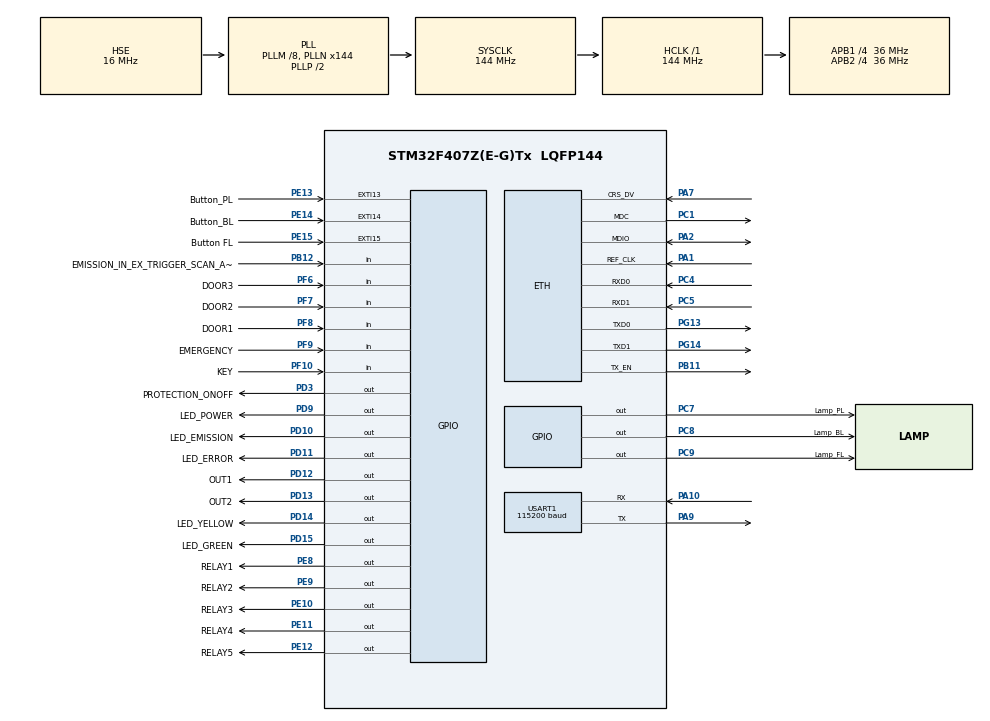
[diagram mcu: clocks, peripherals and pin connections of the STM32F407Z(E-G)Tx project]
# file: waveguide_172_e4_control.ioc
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ETH.AutoNegotiation=ETH_AUTONEGOTIATION_ENABLE
ETH.ChecksumMode=ETH_CHECKSUM_BY_HARDWARE
ETH.DuplexMode=ETH_MODE_FULLDUPLEX
ETH.MACAddr=00\:80\:E1\:00\:00\:0D
ETH.MediaInterface=HAL_ETH_RMII_MODE
ETH.PHY_AUTONEGOTIATION=0x1000
ETH.PHY_AUTONEGO_COMPLETE=0x0020
ETH.PHY_BCR=0x00
ETH.PHY_BSR=0x01
ETH.PHY_CONFIG_DELAY=0x00000FFF
ETH.PHY_DUPLEX_STATUS=0x0010
ETH.PHY_FULLDUPLEX_100M=0x2100
ETH.PHY_FULLDUPLEX_10M=0x0100
ETH.PHY_HALFDUPLEX_100M=0x2000
ETH.PHY_HALFDUPLEX_10M=0x0000
ETH.PHY_ISFR=0x001D
ETH.PHY_ISFR_INT4=0x000B
ETH.PHY_ISOLATE=0x0400
ETH.PHY_JABBER_DETECTION=0x0002
ETH.PHY_LINKED_STATUS=0x0004
ETH.PHY_LOOPBACK=0x4000
ETH.PHY_Name_RMII=DP83848_PHY_ADDRESS
ETH.PHY_POWERDOWN=0x0800
ETH.PHY_READ_TO=0x0000FFFF
ETH.PHY_RESET=0x8000
ETH.PHY_RESET_DELAY=0x000000FF
ETH.PHY_RESTART_AUTONEGOTIATION=0x0200
ETH.PHY_SPEED_STATUS=0x0004
ETH.PHY_SR=0x1F
ETH.PHY_WRITE_TO=0x0000FFFF
ETH.PhyAddress=3
ETH.RxMode=ETH_RXINTERRUPT_MODE
ETH.Speed=ETH_SPEED_100M
FREERTOS.HEAP_NUMBER=4
FREERTOS.INCLUDE_eTaskGetState=0
FREERTOS.INCLUDE_pcTaskGetTaskName=0
FREERTOS.INCLUDE_uxTaskGetStackHighWaterMark=0
FREERTOS.INCLUDE_uxTaskGetStackHighWaterMark2=0
FREERTOS.INCLUDE_uxTaskPriorityGet=1
FREERTOS.INCLUDE_vTaskCleanUpResources=0
FREERTOS.INCLUDE_vTaskDelay=1
FREERTOS.INCLUDE_vTaskDelayUntil=0
FREERTOS.INCLUDE_vTaskDelete=1
FREERTOS.INCLUDE_vTaskPrioritySet=1
FREERTOS.INCLUDE_vTaskSuspend=1
FREERTOS.INCLUDE_xEventGroupSetBitFromISR=0
FREERTOS.INCLUDE_xQueueGetMutexHolder=0
FREERTOS.INCLUDE_xSemaphoreGetMutexHolder=0
FREERTOS.INCLUDE_xTaskAbortDelay=0
FREERTOS.INCLUDE_xTaskGetCurrentTaskHandle=0
FREERTOS.INCLUDE_xTaskGetHandle=0
FREERTOS.INCLUDE_xTaskResumeFromISR=1
FREERTOS.MEMORY_ALLOCATION=2
FREERTOS.Mutexes01=CanMutex,Static,CanMutexControlBlock
FREERTOS.Tasks01=main_task,0,2048,h_main_task,Default,NULL,Static,main_taskBuffer,main_taskControlBlock;indi_task,0,256,h_indi_task,Default,NULL,Static,indi_taskBuffer,indi_taskControlBlock;server_task,-3,2048,h_server_task,Default,NULL,Static,server_taskBuffer,server_taskControlBlock;toolsTask,-3,512,h_tools,Default,NULL,Dynamic,NULL,NULL
FREERTOS.configCHECK_FOR_STACK_OVERFLOW=0
FREERTOS.configENABLE_BACKWARD_COMPATIBILITY=1
FREERTOS.configENABLE_FPU=0
FREERTOS.configGENERATE_RUN_TIME_STATS=0
FREERTOS.configIDLE_SHOULD_YIELD=1
FREERTOS.configLIBRARY_LOWEST_INTERRUPT_PRIORITY=15
FREERTOS.configLIBRARY_MAX_SYSCALL_INTERRUPT_PRIORITY=5
FREERTOS.configMAX_CO_ROUTINE_PRIORITIES=2
FREERTOS.configMAX_PRIORITIES=7
FREERTOS.configMAX_TASK_NAME_LEN=16
FREERTOS.configMINIMAL_STACK_SIZE=128
FREERTOS.configQUEUE_REGISTRY_SIZE=8
FREERTOS.configRECORD_STACK_HIGH_ADDRESS=0
FREERTOS.configTICK_RATE_HZ=1000
FREERTOS.configTOTAL_HEAP_SIZE=40000
FREERTOS.configUSE_APPLICATION_TASK_TAG=0
FREERTOS.configUSE_COUNTING_SEMAPHORES=0
FREERTOS.configUSE_CO_ROUTINES=0
FREERTOS.configUSE_DAEMON_TASK_STARTUP_HOOK=0
FREERTOS.configUSE_IDLE_HOOK=0
FREERTOS.configUSE_MALLOC_FAILED_HOOK=0
FREERTOS.configUSE_MUTEXES=1
FREERTOS.configUSE_NEWLIB_REENTRANT=1
FREERTOS.configUSE_POSIX_ERRNO=0
FREERTOS.configUSE_PREEMPTION=1
FREERTOS.configUSE_RECURSIVE_MUTEXES=0
FREERTOS.configUSE_STATS_FORMATTING_FUNCTIONS=0
FREERTOS.configUSE_TASK_NOTIFICATIONS=1
FREERTOS.configUSE_TICKLESS_IDLE=0
FREERTOS.configUSE_TICK_HOOK=0
FREERTOS.configUSE_TIMERS=0
FREERTOS.configUSE_TRACE_FACILITY=0
FREERTOS.copyHeapFile=1
LWIP.API_LIB_DEBUG=LWIP_DBG_OFF
LWIP.API_MSG_DEBUG=LWIP_DBG_OFF
LWIP.ARP_MAXAGE=300
LWIP.ARP_QUEUEING=0
LWIP.ARP_QUEUE_LEN=3
LWIP.ARP_TABLE_SIZE=10
LWIP.AUTOIP_DEBUG=LWIP_DBG_OFF
LWIP.BSP.number=1
LWIP.CBCP_SUPPORT=0
LWIP.CCP_SUPPORT=0
LWIP.CHAP_DEFTIMEOUT=6
LWIP.CHAP_DEFTRANSMITS=10
LWIP.CHAP_SUPPORT=0
LWIP.CHECKSUM_BY_HARDWARE=1
LWIP.CHECKSUM_CHECK_ICMP=0
LWIP.CHECKSUM_CHECK_ICMP6=0
LWIP.CHECKSUM_CHECK_IP=0
LWIP.CHECKSUM_CHECK_TCP=0
LWIP.CHECKSUM_CHECK_UDP=0
LWIP.CHECKSUM_GEN_ICMP=0
LWIP.CHECKSUM_GEN_ICMP6=0
LWIP.CHECKSUM_GEN_IP=0
LWIP.CHECKSUM_GEN_TCP=0
LWIP.CHECKSUM_GEN_UDP=0
LWIP.DEFAULT_ACCEPTMBOX_SIZE=6
LWIP.DEFAULT_RAW_RECVMBOX_SIZE=0
LWIP.DEFAULT_TCP_RECVMBOX_SIZE=6
LWIP.DEFAULT_THREAD_NAME="lwIP"
LWIP.DEFAULT_THREAD_PRIO=3
LWIP.DEFAULT_THREAD_STACKSIZE=1024
LWIP.DEFAULT_UDP_RECVMBOX_SIZE=0
LWIP.DEMAND_SUPPORT=0
LWIP.DHCP6_DEBUG=LWIP_DBG_OFF
LWIP.DHCP_DEBUG=LWIP_DBG_OFF
LWIP.DHCP_DOES_ARP_CHECK=0
LWIP.DNS_DEBUG=LWIP_DBG_OFF
LWIP.DNS_DOES_NAME_CHECK=1
LWIP.DNS_LOCAL_HOSTLIST=0
LWIP.DNS_LOCAL_HOSTLIST_IS_DYNAMIC=0
LWIP.DNS_MAX_NAME_LENGTH=256
LWIP.DNS_MAX_RETRIES=4
LWIP.DNS_MAX_SERVERS=2
LWIP.DNS_TABLE_SIZE=4
LWIP.EAP_DEFALLOWREQ=10
LWIP.EAP_DEFREQTIME=6
LWIP.EAP_SUPPORT=0
LWIP.ECP_SUPPORT=0
LWIP.ETHARP_DEBUG=LWIP_DBG_OFF
LWIP.ETHARP_STATS=0
LWIP.ETHARP_SUPPORT_STATIC_ENTRIES=0
LWIP.ETHARP_SUPPORT_VLAN=0
LWIP.ETHARP_TABLE_MATCH_NETIF=1
LWIP.ETH_PAD_SIZE=0
LWIP.FSM_DEFMAXCONFREQS=10
LWIP.FSM_DEFMAXNAKLOOPS=5
LWIP.FSM_DEFMAXTERMREQS=2
LWIP.FSM_DEFTIMEOUT=6
LWIP.GATEWAY_ADDRESS=000.000.000.000
LWIP.HTTPD_DEBUG=LWIP_DBG_OFF
LWIP.HTTPD_DEBUG_TIMING=LWIP_DBG_OFF
LWIP.ICMP6_STATS=0
LWIP.ICMP_DEBUG=LWIP_DBG_OFF
LWIP.ICMP_STATS=0
LWIP.ICMP_TTL=255
LWIP.IGMP_DEBUG=LWIP_DBG_OFF
LWIP.IGMP_STATS=0
LWIP.INET_DEBUG=LWIP_DBG_OFF
LWIP.IP6_DEBUG=LWIP_DBG_OFF
LWIP.IP6_FRAG_STATS=0
LWIP.IP6_STATS=0
LWIP.IPFRAG_STATS=0
LWIP.IPV6_REASS_MAXAGE=60
LWIP.IP_ADDRESS=192.168.026.222
LWIP.IP_DEBUG=LWIP_DBG_OFF
LWIP.IP_DEFAULT_TTL=255
LWIP.IP_FORWARD=0
LWIP.IP_FORWARD_ALLOW_TX_ON_RX_NETIF=0
LWIP.IP_FRAG=1
LWIP.IP_OPTIONS_ALLOWED=1
LWIP.IP_REASSEMBLY=1
LWIP.IP_REASS_DEBUG=LWIP_DBG_OFF
LWIP.IP_REASS_MAXAGE=15
LWIP.IP_REASS_MAX_PBUFS=10
LWIP.IP_SOF_BROADCAST=0
LWIP.IP_SOF_BROADCAST_RECV=0
LWIP.IP_STATS=0
LWIP.LCP_DEFLOOPBACKFAIL=10
LWIP.LCP_ECHOINTERVAL=0
LWIP.LCP_MAXECHOFAILS=3
LWIP.LINK_STATS=0
LWIP.LQR_SUPPORT=0
LWIP.LWIP_ALLOW_MEM_FREE_FROM_OTHER_CONTEXT=0
LWIP.LWIP_ALTCP=0
LWIP.LWIP_ALTCP_TLS=0
LWIP.LWIP_ARP=1
LWIP.LWIP_AUTOIP=0
LWIP.LWIP_BROADCAST_PING=0
LWIP.LWIP_CALLBACK_API=1
LWIP.LWIP_CHECKSUM_CTRL_PER_NETIF=0
LWIP.LWIP_CHECKSUM_ON_COPY=0
LWIP.LWIP_COMPAT_SOCKETS=1
LWIP.LWIP_DBG_MIN_LEVEL=LWIP_DBG_LEVEL_ALL
LWIP.LWIP_DBG_TYPES_ON=LWIP_DBG_OFF
LWIP.LWIP_DHCP=0
LWIP.LWIP_DHCP6_GET_NTP_SRV=0
LWIP.LWIP_DHCP6_MAX_DNS_SERVERS=2
LWIP.LWIP_DHCP6_MAX_NTP_SERVERS=1
LWIP.LWIP_DHCP_AUTOIP_COOP=0
LWIP.LWIP_DHCP_AUTOIP_COOP_TRIES=9
LWIP.LWIP_DHCP_BOOTP_FILE=0
LWIP.LWIP_DHCP_GET_NTP_SRV=0
LWIP.LWIP_DHCP_MAX_DNS_SERVERS=2
LWIP.LWIP_DHCP_MAX_NTP_SERVERS=1
LWIP.LWIP_DISABLE_MEMP_SANITY_CHECKS=0
LWIP.LWIP_DISABLE_TCP_SANITY_CHECKS=0
LWIP.LWIP_DNS=0
LWIP.LWIP_DNS_SECURE=7
LWIP.LWIP_DNS_SUPPORT_MDNS_QUERIES=0
LWIP.LWIP_ETHERNET=1
LWIP.LWIP_EVENT_API=0
LWIP.LWIP_FIONREAD_LINUXMODE=0
LWIP.LWIP_HAVE_LOOPIF=0
LWIP.LWIP_HTTPD=0
LWIP.LWIP_ICMP=1
LWIP.LWIP_ICMP6=0
LWIP.LWIP_ICMP6_DATASIZE=8
LWIP.LWIP_ICMP6_HL=255
LWIP.LWIP_IGMP=0
LWIP.LWIP_INCLUDED_POLARSSL_ARC4=0
LWIP.LWIP_INCLUDED_POLARSSL_DES=0
LWIP.LWIP_INCLUDED_POLARSSL_MD4=0
LWIP.LWIP_INCLUDED_POLARSSL_MD5=0
LWIP.LWIP_INCLUDED_POLARSSL_SHA1=0
LWIP.LWIP_IPV4=1
LWIP.LWIP_IPV6=0
LWIP.LWIP_IPV6_ADDRESS_LIFETIMES=0
LWIP.LWIP_IPV6_AUTOCONFIG=0
LWIP.LWIP_IPV6_DHCP6=0
LWIP.LWIP_IPV6_DHCP6_STATEFUL=0
LWIP.LWIP_IPV6_DHCP6_STATELESS=0
LWIP.LWIP_IPV6_DUP_DETECT_ATTEMPTS=1
LWIP.LWIP_IPV6_FORWARD=0
LWIP.LWIP_IPV6_FRAG=1
LWIP.LWIP_IPV6_MLD=0
LWIP.LWIP_IPV6_NUM_ADDRESSES=3
LWIP.LWIP_IPV6_REASS=0
LWIP.LWIP_IPV6_SCOPES=0
LWIP.LWIP_IPV6_SCOPES_DEBUG=0
LWIP.LWIP_IPV6_SEND_ROUTER_SOLICIT=1
LWIP.LWIP_LOOPBACK_MAX_PBUFS=0
LWIP.LWIP_LOOPIF_MULTICAST=0
LWIP.LWIP_MDNS=0
LWIP.LWIP_MIB2_CALLBACKS=0
LWIP.LWIP_MPU_COMPATIBLE=0
LWIP.LWIP_MULTICAST_PING=0
LWIP.LWIP_MULTICAST_TX_OPTIONS=0
LWIP.LWIP_ND6_ALLOW_RA_UPDATES=1
LWIP.LWIP_ND6_DELAY_FIRST_PROBE_TIME=5000
LWIP.LWIP_ND6_MAX_ANYCAST_DELAY_TIME=1000
LWIP.LWIP_ND6_MAX_MULTICAST_SOLICIT=3
LWIP.LWIP_ND6_MAX_NEIGHBOR_ADVERTISEMENT=3
LWIP.LWIP_ND6_MAX_UNICAST_SOLICIT=3
LWIP.LWIP_ND6_NUM_DESTINATIONS=10
LWIP.LWIP_ND6_NUM_NEIGHBORS=10
LWIP.LWIP_ND6_NUM_PREFIXES=5
LWIP.LWIP_ND6_NUM_ROUTERS=3
LWIP.LWIP_ND6_QUEUEING=0
LWIP.LWIP_ND6_RDNSS_MAX_DNS_SERVERS=0
LWIP.LWIP_ND6_REACHABLE_TIME=30000
LWIP.LWIP_ND6_RETRANS_TIMER=1000
LWIP.LWIP_ND6_TCP_REACHABILITY_HINTS=1
LWIP.LWIP_NETBUF_RECVINFO=0
LWIP.LWIP_NETCONN=1
LWIP.LWIP_NETCONN_FULLDUPLEX=0
LWIP.LWIP_NETCONN_SEM_PER_THREAD=0
LWIP.LWIP_NETIF_API=0
LWIP.LWIP_NETIF_EXT_STATUS_CALLBACK=0
LWIP.LWIP_NETIF_HOSTNAME=0
LWIP.LWIP_NETIF_HWADDRHINT=0
LWIP.LWIP_NETIF_LINK_CALLBACK=1
LWIP.LWIP_NETIF_LOOPBACK=0
LWIP.LWIP_NETIF_LOOPBACK_MULTITHREADING=1
LWIP.LWIP_NETIF_REMOVE_CALLBACK=0
LWIP.LWIP_NETIF_STATUS_CALLBACK=1
LWIP.LWIP_NETIF_TX_SINGLE_PBUF=0
LWIP.LWIP_NUM_NETIF_CLIENT_DATA=0
LWIP.LWIP_PBUF_REF_T=u8_t
LWIP.LWIP_PERF=0
LWIP.LWIP_POSIX_SOCKETS_IO_NAMES=1
LWIP.LWIP_PPP_API=0
LWIP.LWIP_RAW=0
LWIP.LWIP_SINGLE_NETIF=0
LWIP.LWIP_SMTP=0
LWIP.LWIP_SNMP=0
LWIP.LWIP_SNMP_CONFIGURE_VERSIONS=0
LWIP.LWIP_SNMP_V3=0
LWIP.LWIP_SNMP_V3_CRYPTO=0
LWIP.LWIP_SNMP_V3_MBEDTLS=0
LWIP.LWIP_SNTP=0
LWIP.LWIP_SOCKET=1
LWIP.LWIP_SOCKET_OFFSET=0
LWIP.LWIP_SOCKET_POLL=1
LWIP.LWIP_SOCKET_SELECT=1
LWIP.LWIP_SO_LINGER=0
LWIP.LWIP_SO_RCVBUF=0
LWIP.LWIP_SO_RCVTIMEO=1
LWIP.LWIP_SO_SNDRCVTIMEO_NONSTANDARD=0
LWIP.LWIP_SO_SNDTIMEO=1
LWIP.LWIP_STATS=0
LWIP.LWIP_STATS_DISPLAY=0
LWIP.LWIP_TCP=1
LWIP.LWIP_TCPIP_CORE_LOCKING=0
LWIP.LWIP_TCPIP_CORE_LOCKING_INPUT=0
LWIP.LWIP_TCPIP_TIMEOUT=0
LWIP.LWIP_TCP_CLOSE_TIMEOUT_MS_DEFAULT=20000
LWIP.LWIP_TCP_KEEPALIVE=0
LWIP.LWIP_TCP_MAX_SACK_NUM=4
LWIP.LWIP_TCP_PCB_NUM_EXT_ARGS=0
LWIP.LWIP_TCP_SACK_OUT=0
LWIP.LWIP_TCP_TIMESTAMPS=0
LWIP.LWIP_TESTMODE=0
LWIP.LWIP_TFTP=0
LWIP.LWIP_TIMERS=1
LWIP.LWIP_TIMERS_CUSTOM=0
LWIP.LWIP_UDP=0
LWIP.LWIP_UDPLITE=0
LWIP.LWIP_USE_EXTERNAL_MBEDTLS=0
LWIP.LWIP_USE_EXTERNAL_POLARSSL=0
LWIP.LWIP_WND_SCALE=0
LWIP.MAXNAMELEN=256
LWIP.MAXSECRETLEN=256
LWIP.MDNS_DEBUG=LWIP_DBG_OFF
LWIP.MEMP_DEBUG=LWIP_DBG_OFF
LWIP.MEMP_MEM_INIT=0
LWIP.MEMP_MEM_MALLOC=0
LWIP.MEMP_NUM_API_MSG=8
LWIP.MEMP_NUM_ARP_QUEUE=30
LWIP.MEMP_NUM_DNS_API_MSG=8
LWIP.MEMP_NUM_FRAG_PBUF=15
LWIP.MEMP_NUM_IGMP_GROUP=8
LWIP.MEMP_NUM_LOCALHOSTLIST=1
LWIP.MEMP_NUM_MLD6_GROUP=4
LWIP.MEMP_NUM_ND6_QUEUE=20
LWIP.MEMP_NUM_NETBUF=2
LWIP.MEMP_NUM_NETCONN=4
LWIP.MEMP_NUM_NETDB=1
LWIP.MEMP_NUM_NETIFAPI_MSG=8
LWIP.MEMP_NUM_PBUF=16
LWIP.MEMP_NUM_PPPOE_INTERFACES=1
LWIP.MEMP_NUM_PPPOL2TP_INTERFACES=1
LWIP.MEMP_NUM_PPPOS_INTERFACES=1
LWIP.MEMP_NUM_PPP_API_MSG=5
LWIP.MEMP_NUM_PPP_PCB=1
LWIP.MEMP_NUM_RAW_PCB=4
LWIP.MEMP_NUM_REASSDATA=5
LWIP.MEMP_NUM_SELECT_CB=4
LWIP.MEMP_NUM_SOCKET_SETGETSOCKOPT_DATA=8
LWIP.MEMP_NUM_SYS_TIMEOUT=3
LWIP.MEMP_NUM_TCPIP_MSG_API=8
LWIP.MEMP_NUM_TCPIP_MSG_INPKT=8
LWIP.MEMP_NUM_TCP_PCB=1
LWIP.MEMP_NUM_TCP_PCB_LISTEN=8
LWIP.MEMP_NUM_TCP_SEG=16
LWIP.MEMP_NUM_UDP_PCB=1
LWIP.MEMP_OVERFLOW_CHECK=0
LWIP.MEMP_SANITY_CHECK=0
LWIP.MEMP_STATS=0
LWIP.MEMP_USE_CUSTOM_POOLS=0
LWIP.MEM_ALIGNMENT=4
LWIP.MEM_DEBUG=LWIP_DBG_OFF
LWIP.MEM_LIBC_MALLOC=0
LWIP.MEM_OVERFLOW_CHECK=0
LWIP.MEM_SANITY_CHECK=0
LWIP.MEM_SIZE=1600
LWIP.MEM_STATS=0
LWIP.MEM_USE_POOLS=0
LWIP.MEM_USE_POOLS_TRY_BIGGER_POOL=0
LWIP.MIB2_STATS=0
LWIP.MLD6_STATS=0
LWIP.MPPE_SUPPORT=0
LWIP.MSCHAP_SUPPORT=0
LWIP.ND6_STATS=0
LWIP.NETIF_DEBUG=LWIP_DBG_OFF
LWIP.NETMASK_ADDRESS=255.255.255.000
LWIP.NO_SYS=0
LWIP.PAP_SUPPORT=0
LWIP.PBUF_DEBUG=LWIP_DBG_OFF
LWIP.PBUF_LINK_ENCAPSULATION_HLEN=0
LWIP.PBUF_LINK_HLEN=14
LWIP.PBUF_POOL_BUFSIZE=592
LWIP.PBUF_POOL_SIZE=16
LWIP.PPPOE_SUPPORT=0
LWIP.PPPOL2TP_AUTH_SUPPORT=0
LWIP.PPPOL2TP_SUPPORT=0
LWIP.PPPOS_SUPPORT=0
LWIP.PPP_DEBUG=LWIP_DBG_OFF
LWIP.PPP_DEFMRU=1500
LWIP.PPP_FCS_TABLE=1
LWIP.PPP_INPROC_IRQ_SAFE=0
LWIP.PPP_IPV4_SUPPORT=1
LWIP.PPP_IPV6_SUPPORT=0
LWIP.PPP_MAXIDLEFLAG=100
LWIP.PPP_MAXMRU=1500
LWIP.PPP_MD5_RANDM=0
LWIP.PPP_MINMRU=128
LWIP.PPP_MRU=1500
LWIP.PPP_NOTIFY_PHASE=0
LWIP.PPP_NUM_TIMEOUTS=0
LWIP.PPP_NUM_TIMEOUTS_PER_PCB=2
LWIP.PPP_SERVER=0
LWIP.PPP_SUPPORT=0
LWIP.PPP_USE_PBUF_RAM=0
LWIP.PRINTPKT_SUPPORT=0
LWIP.RAW_DEBUG=LWIP_DBG_OFF
LWIP.RAW_TTL=255
LWIP.RECV_BUFSIZE_DEFAULT=2000000000
LWIP.SLIPIF_THREAD_NAME="slipif_loop"
LWIP.SLIPIF_THREAD_PRIO=3
LWIP.SLIPIF_THREAD_STACKSIZE=1024
LWIP.SLIP_DEBUG=LWIP_DBG_OFF
LWIP.SMTP_DEBUG=LWIP_DBG_OFF
LWIP.SNMP_DEBUG=LWIP_DBG_ON
LWIP.SNMP_LWIP_MIB2=0
LWIP.SNMP_MIB_DEBUG=LWIP_DBG_ON
LWIP.SNMP_USE_NETCONN=0
LWIP.SNMP_USE_RAW=1
LWIP.SNTP_DEBUG=LWIP_DBG_OFF
LWIP.SOCKETS_DEBUG=LWIP_DBG_OFF
LWIP.SO_REUSE=0
LWIP.SO_REUSE_RXTOALL=0
LWIP.SYS_DEBUG=LWIP_DBG_OFF
LWIP.SYS_LIGHTWEIGHT_PROT=1
LWIP.SYS_STATS=0
LWIP.TCPIP_DEBUG=LWIP_DBG_OFF
LWIP.TCPIP_MBOX_SIZE=6
LWIP.TCPIP_THREAD_NAME="tcpip_thread"
LWIP.TCPIP_THREAD_PRIO=3
LWIP.TCPIP_THREAD_STACKSIZE=1024
LWIP.TCP_CALCULATE_EFF_SEND_MSS=1
LWIP.TCP_CWND_DEBUG=LWIP_DBG_OFF
LWIP.TCP_DEBUG=LWIP_DBG_OFF
LWIP.TCP_DEFAULT_LISTEN_BACKLOG=255
LWIP.TCP_FR_DEBUG=LWIP_DBG_OFF
LWIP.TCP_INPUT_DEBUG=LWIP_DBG_OFF
LWIP.TCP_LISTEN_BACKLOG=0
LWIP.TCP_MAXRTX=12
LWIP.TCP_MSS=536
LWIP.TCP_OOSEQ_BYTES_LIMIT(pcb)=0
LWIP.TCP_OOSEQ_MAX_BYTES=0
LWIP.TCP_OOSEQ_MAX_PBUFS=0
LWIP.TCP_OOSEQ_PBUFS_LIMIT(pcb)=0
LWIP.TCP_OUTPUT_DEBUG=LWIP_DBG_OFF
LWIP.TCP_OVERSIZE=TCP_MSS
LWIP.TCP_QLEN_DEBUG=LWIP_DBG_OFF
LWIP.TCP_QUEUE_OOSEQ=1
LWIP.TCP_RCV_SCALE=0
LWIP.TCP_RST_DEBUG=LWIP_DBG_OFF
LWIP.TCP_RTO_DEBUG=LWIP_DBG_OFF
LWIP.TCP_SNDLOWAT=1071
LWIP.TCP_SNDQUEUELOWAT=5
LWIP.TCP_SND_BUF=1072
LWIP.TCP_SND_QUEUELEN=9
LWIP.TCP_STATS=0
LWIP.TCP_SYNMAXRTX=6
LWIP.TCP_TTL=255
LWIP.TCP_WND=2144
LWIP.TCP_WND_DEBUG=LWIP_DBG_OFF
LWIP.TCP_WND_UPDATE_THRESHOLD=536
LWIP.TFTP_DEBUG=LWIP_DBG_OFF
LWIP.TIMERS_DEBUG=LWIP_DBG_OFF
LWIP.UDP_DEBUG=LWIP_DBG_OFF
LWIP.UDP_STATS=0
LWIP.UDP_TTL=255
LWIP.UPAP_DEFREQTIME=30
LWIP.UPAP_DEFTIMEOUT=6
LWIP.UPAP_DEFTRANSMITS=10
LWIP.VJ_SUPPORT=0
LWIP.Version=v2.1.2_Cube
LWIP0.BSP.STBoard=false
LWIP0.BSP.api=BSP_COMPONENT_DRIVER
LWIP0.BSP.component=DP83848
LWIP0.BSP.instance=DP83848
LWIP0.BSP.name=Driver_PHY
LWIP0.BSP.semaphore=S_DP83848
LWIP0.BSP.solution=DP83848
Mcu.Family=STM32F4
Mcu.Name=STM32F407Z(E-G)Tx
Mcu.Package=LQFP144
NVIC.ETH_IRQn=true\:5\:0\:false\:false\:true\:true\:true\:true\:true
NVIC.EXTI15_10_IRQn=true\:5\:0\:false\:false\:true\:true\:true\:true\:true
NVIC.PriorityGroup=NVIC_PRIORITYGROUP_4
NVIC.TIM6_DAC_IRQn=true\:15\:0\:false\:false\:true\:false\:true\:true\:true
NVIC.TimeBase=TIM6_DAC_IRQn
NVIC.TimeBaseIP=TIM6
NVIC.USART1_IRQn=true\:5\:0\:false\:false\:true\:true\:true\:true\:true
PA1.Mode=RMII
PA1.Signal=ETH_REF_CLK
PA10.Mode=Asynchronous
PA10.Signal=USART1_RX
PA13.Mode=Serial_Wire
PA13.Signal=SYS_JTMS-SWDIO
PA14.Mode=Serial_Wire
PA14.Signal=SYS_JTCK-SWCLK
PA2.Mode=RMII
PA2.Signal=ETH_MDIO
PA7.Mode=RMII
PA7.Signal=ETH_CRS_DV
PA9.Mode=Asynchronous
PA9.Signal=USART1_TX
PB11.Mode=RMII
PB11.Signal=ETH_TX_EN
PB12.GPIO_Label=EMISSION_IN_EX_TRIGGER_SCAN_ACT
PB12.Signal=GPIO_Input
PC1.Mode=RMII
PC1.Signal=ETH_MDC
PC4.Mode=RMII
PC4.Signal=ETH_RXD0
PC5.Mode=RMII
PC5.Signal=ETH_RXD1
PC7.GPIO_Label=Lamp_PL
PC7.Signal=GPIO_Output
PC8.GPIO_Label=Lamp_BL
PC8.Signal=GPIO_Output
PC9.GPIO_Label=Lamp_FL
PC9.Signal=GPIO_Output
PD10.GPIO_Label=LED_EMISSION
PD10.Signal=GPIO_Output
PD11.GPIO_Label=LED_ERROR
PD11.Signal=GPIO_Output
PD12.GPIO_Label=OUT1
PD12.Signal=GPIO_Output
PD13.GPIO_Label=OUT2
PD13.Signal=GPIO_Output
PD14.GPIO_Label=LED_YELLOW
PD14.Signal=GPIO_Output
PD15.GPIO_Label=LED_GREEN
PD15.Signal=GPIO_Output
PD3.GPIO_Label=PROTECTION_ONOFF
PD3.Signal=GPIO_Output
PD9.GPIO_Label=LED_POWER
PD9.Signal=GPIO_Output
PE10.GPIO_Label=RELAY3
PE10.Signal=GPIO_Output
PE11.GPIO_Label=RELAY4
PE11.Signal=GPIO_Output
PE12.GPIO_Label=RELAY5
PE12.Signal=GPIO_Output
PE13.GPIO_Label=Button_PL
PE13.GPIO_ModeDefaultEXTI=GPIO_MODE_IT_RISING_FALLING
PE13.Signal=GPXTI13
PE14.GPIO_Label=Button_BL
PE14.GPIO_ModeDefaultEXTI=GPIO_MODE_IT_RISING_FALLING
PE14.Signal=GPXTI14
PE15.GPIO_Label=Button FL
PE15.GPIO_ModeDefaultEXTI=GPIO_MODE_IT_RISING_FALLING
PE15.Signal=GPXTI15
PE8.GPIO_Label=RELAY1
PE8.Signal=GPIO_Output
PE9.GPIO_Label=RELAY2
PE9.Signal=GPIO_Output
PF10.GPIO_Label=KEY
PF10.Signal=GPIO_Input
PF6.GPIO_Label=DOOR3
PF6.Signal=GPIO_Input
PF7.GPIO_Label=DOOR2
PF7.Signal=GPIO_Input
PF8.GPIO_Label=DOOR1
PF8.Signal=GPIO_Input
PF9.GPIO_Label=EMERGENCY
PF9.Signal=GPIO_Input
PG13.Mode=RMII
PG13.Signal=ETH_TXD0
PG14.Mode=RMII
PG14.Signal=ETH_TXD1
PH0-OSC_IN.Mode=HSE-External-Oscillator
PH0-OSC_IN.Signal=RCC_OSC_IN
PH1-OSC_OUT.Mode=HSE-External-Oscillator
PH1-OSC_OUT.Signal=RCC_OSC_OUT
ProjectManager.HeapSize=0x400
ProjectManager.StackSize=0x800
ProjectManager.TargetToolchain=STM32CubeIDE
RCC.48MHZClocksFreq_Value=48000000
RCC.AHBFreq_Value=144000000
RCC.APB1CLKDivider=RCC_HCLK_DIV4
RCC.APB1Freq_Value=36000000
RCC.APB1TimFreq_Value=72000000
RCC.APB2CLKDivider=RCC_HCLK_DIV4
RCC.APB2Freq_Value=36000000
RCC.APB2TimFreq_Value=72000000
RCC.CortexFreq_Value=144000000
RCC.FLatency=FLASH_LATENCY_4
RCC.HCLKFreq_Value=144000000
RCC.HSE_VALUE=16000000
RCC.HSI_VALUE=16000000
RCC.LSE_VALUE=32768
RCC.PLLM=8
RCC.PLLN=144
RCC.PLLQ=6
RCC.PLLSourceVirtual=RCC_PLLSOURCE_HSE
RCC.SYSCLKFreq_VALUE=144000000
RCC.SYSCLKSource=RCC_SYSCLKSOURCE_PLLCLK
RCC.VCOOutputFreq_Value=288000000
TIM4.AutoReloadPreload=TIM_AUTORELOAD_PRELOAD_DISABLE
TIM4.Channel-Output\ Compare4\ No\ Output=TIM_CHANNEL_4
TIM4.ClockDivision=TIM_CLOCKDIVISION_DIV1
TIM4.CounterMode=TIM_COUNTERMODE_UP
TIM4.OC4Preload=DISABLE
TIM4.OCMode_4=TIM_OCMODE_TOGGLE
TIM4.OCPolarity_4=TIM_OCPOLARITY_HIGH
TIM4.Period=999
TIM4.Prescaler=83
TIM4.Pulse-Output\ Compare4\ No\ Output=0
TIM4.TIM_MasterOutputTrigger=TIM_TRGO_RESET
TIM4.TIM_MasterSlaveMode=TIM_MASTERSLAVEMODE_DISABLE
USART1.BaudRate=115200
USART1.Mode=MODE_TX_RX
USART1.OverSampling=UART_OVERSAMPLING_16
USART1.Parity=PARITY_NONE
USART1.StopBits=STOPBITS_1
USART1.VirtualMode=VM_ASYNC
USART1.WordLength=WORDLENGTH_8B
VP_FREERTOS_VS_CMSIS_V1.Mode=CMSIS_V1
VP_LWIP_VS_Enabled.Mode=Enabled
VP_SYS_VS_tim6.Mode=TIM6
VP_TIM4_VS_ClockSourceINT.Mode=Internal
VP_TIM4_VS_no_output4.Mode=Output Compare4 No Output
board=custom

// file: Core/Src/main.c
/* USER CODE BEGIN Header */
/**
  ******************************************************************************
  * @file           : main.c
  * @brief          : Main program body
  ******************************************************************************
  * @attention
  *
  * <h2><center>&copy; Copyright (c) 2020 STMicroelectronics.
  * All rights reserved.</center></h2>
  *
  * This software component is licensed by ST under BSD 3-Clause license,
  * the "License"; You may not use this file except in compliance with the
  * License. You may obtain a copy of the License at:
  *                        opensource.org/licenses/BSD-3-Clause
  *
  ******************************************************************************
  */
/* USER CODE END Header */
#include "main.h"
#include "cmsis_os.h"
#include "lwip.h"
#include "tim.h"
#include "usart.h"
#include "gpio.h"

/* USER CODE BEGIN Includes */
#include "stdio.h"
/* USER CODE END Includes */

void SystemClock_Config(void);
void MX_FREERTOS_Init(void);

/* USER CODE BEGIN 0 */
//extern void initialise_monitor_handles(void);

/* USER CODE END 0 */

int main(void)
{

  /* MCU Configuration--------------------------------------------------------*/

  /* Reset of all peripherals, Initializes the Flash interface and the Systick. */
  HAL_Init();

  /* Configure the system clock */
  SystemClock_Config();

  /* Initialize all configured peripherals */
  MX_GPIO_Init();
  MX_TIM4_Init();
  MX_USART1_UART_Init();
  /* USER CODE BEGIN 2 */
  HAL_Delay(3000);
  /* USER CODE END 2 */

  /* Call init function for freertos objects (in cmsis_os2.c) */
  MX_FREERTOS_Init();

  /* Start scheduler */
  osKernelStart();

  /* We should never get here as control is now taken by the scheduler */

  /* Infinite loop */
  while (1)
  {

  }
}

void SystemClock_Config(void)
{
  RCC_OscInitTypeDef RCC_OscInitStruct = {0};
  RCC_ClkInitTypeDef RCC_ClkInitStruct = {0};

  /** Configure the main internal regulator output voltage
  */
  __HAL_RCC_PWR_CLK_ENABLE();
  __HAL_PWR_VOLTAGESCALING_CONFIG(PWR_REGULATOR_VOLTAGE_SCALE1);

  /** Initializes the RCC Oscillators according to the specified parameters
  * in the RCC_OscInitTypeDef structure.
  */
  RCC_OscInitStruct.OscillatorType = RCC_OSCILLATORTYPE_HSE;
  RCC_OscInitStruct.HSEState = RCC_HSE_ON;
  RCC_OscInitStruct.PLL.PLLState = RCC_PLL_ON;
  RCC_OscInitStruct.PLL.PLLSource = RCC_PLLSOURCE_HSE;
  RCC_OscInitStruct.PLL.PLLM = 8;
  RCC_OscInitStruct.PLL.PLLN = 144;
  RCC_OscInitStruct.PLL.PLLP = RCC_PLLP_DIV2;
  RCC_OscInitStruct.PLL.PLLQ = 6;
  if (HAL_RCC_OscConfig(&RCC_OscInitStruct) != HAL_OK)
  {
    Error_Handler();
  }

  /** Initializes the CPU, AHB and APB buses clocks
  */
  RCC_ClkInitStruct.ClockType = RCC_CLOCKTYPE_HCLK|RCC_CLOCKTYPE_SYSCLK
                              |RCC_CLOCKTYPE_PCLK1|RCC_CLOCKTYPE_PCLK2;
  RCC_ClkInitStruct.SYSCLKSource = RCC_SYSCLKSOURCE_PLLCLK;
  RCC_ClkInitStruct.AHBCLKDivider = RCC_SYSCLK_DIV1;
  RCC_ClkInitStruct.APB1CLKDivider = RCC_HCLK_DIV4;
  RCC_ClkInitStruct.APB2CLKDivider = RCC_HCLK_DIV4;

  if (HAL_RCC_ClockConfig(&RCC_ClkInitStruct, FLASH_LATENCY_4) != HAL_OK)
  {
    Error_Handler();
  }
}

void HAL_TIM_PeriodElapsedCallback(TIM_HandleTypeDef *htim)
{
  if (htim->Instance == TIM6) {
    HAL_IncTick();
  }
  /* USER CODE BEGIN Callback 1 */
  else if(htim->Instance == TIM7)
  {

  }
  /* USER CODE END Callback 1 */
}

void Error_Handler(void)
{
  __disable_irq();
  while (1)
  {
  }
}

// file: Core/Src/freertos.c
/* USER CODE BEGIN Header */
#include "../Inc/main.h"
#ifndef TB_DEF
/* USER CODE END Header */

#include "FreeRTOS.h"
#include "task.h"
#include "main.h"
#include "cmsis_os.h"

/* USER CODE BEGIN Includes */
#include "api.h"
#include "lwip/tcp.h"
#include "ethernetif.h"
#include "params_func.h"
#include "cpu_clock_count.h"
#include "usart.h"
#else
#endif
#include "string.h"
#include "stdio.h"
#include "math.h"
#include "../Inc/global.h"
#include "../Inc/server.h"
#include "../Inc/tools.h"
#include "../Inc/commands_handler.h"

/* USER CODE END Includes */

/* USER CODE BEGIN Variables */

device_struct mcs_storage;

QueueHandle_t link_queue;
QueueHandle_t int_can_mess_queue;
QueueHandle_t indication_queue;
QueueHandle_t adc_data_queue;
QueueHandle_t tcp_rx_data_queue;
QueueHandle_t tcp_tx_data_queue;
QueueHandle_t exti_alarm_queue;

uint8_t uart1_rx_byte;

/* USER CODE END Variables */
osThreadId main_taskHandle;
uint32_t main_taskBuffer[ 2048 ];
osStaticThreadDef_t main_taskControlBlock;
osThreadId indi_taskHandle;
uint32_t indi_taskBuffer[ 256 ];
osStaticThreadDef_t indi_taskControlBlock;
osThreadId server_taskHandle;
uint32_t server_taskBuffer[ 2048 ];
osStaticThreadDef_t server_taskControlBlock;
osThreadId toolsTaskHandle;
osMutexId CanMutexHandle;

/* USER CODE BEGIN FunctionPrototypes */

int dev_refreshtask_state = 0;
osThreadId dev_refreshtaskHandle;
void h_dev_refreshtask ( void const *argument ) ;
//---------------------------------------------

//osThreadDef ( dev_refreshtask , h_dev_refreshtask, osPriorityNormal, 1, 256);

/* USER CODE END FunctionPrototypes */

void h_main_task(void const * argument);
void h_indi_task(void const * argument);
void h_server_task(void const * argument);
void h_tools(void const * argument);

extern void MX_LWIP_Init(void);
void MX_FREERTOS_Init(void); /* (MISRA C 2004 rule 8.1) */

/* GetIdleTaskMemory prototype (linked to static allocation support) */
void vApplicationGetIdleTaskMemory( StaticTask_t **ppxIdleTaskTCBBuffer, StackType_t **ppxIdleTaskStackBuffer, uint32_t *pulIdleTaskStackSize );

/* USER CODE BEGIN GET_IDLE_TASK_MEMORY */
#ifndef TB_DEF
static StaticTask_t xIdleTaskTCBBuffer;
static StackType_t xIdleStack[configMINIMAL_STACK_SIZE];

void vApplicationGetIdleTaskMemory( StaticTask_t **ppxIdleTaskTCBBuffer, StackType_t **ppxIdleTaskStackBuffer, uint32_t *pulIdleTaskStackSize )
{
	*ppxIdleTaskTCBBuffer = &xIdleTaskTCBBuffer;
	*ppxIdleTaskStackBuffer = &xIdleStack[0];
	*pulIdleTaskStackSize = configMINIMAL_STACK_SIZE;
	/* place for user code */
}
#endif
/* USER CODE END GET_IDLE_TASK_MEMORY */

void MX_FREERTOS_Init(void) {
  /* USER CODE BEGIN Init */

	read_last_config_data ( &mcs_storage.config ) ;
  /* USER CODE END Init */
  /* Create the mutex(es) */
  /* definition and creation of CanMutex */
  osMutexDef(CanMutex);
  CanMutexHandle = osMutexCreate(osMutex(CanMutex));

  /* USER CODE BEGIN RTOS_QUEUES */
	link_queue         = xQueueCreate(5,sizeof(uint8_t));
	indication_queue   = xQueueCreate(20, sizeof(uint8_t));
	tcp_rx_data_queue  = xQueueCreate(TCP_QUEUE_BUF_SIZE, sizeof(char));

  /* USER CODE END RTOS_QUEUES */

  /* Create the thread(s) */
  /* definition and creation of main_task */
  osThreadStaticDef(main_task, h_main_task, osPriorityNormal, 0, 2048, main_taskBuffer, &main_taskControlBlock);
  main_taskHandle = osThreadCreate(osThread(main_task), NULL);

  /* definition and creation of indi_task */
  osThreadStaticDef(indi_task, h_indi_task, osPriorityNormal, 0, 256, indi_taskBuffer, &indi_taskControlBlock);
  indi_taskHandle = osThreadCreate(osThread(indi_task), NULL);

  /* definition and creation of server_task */
  osThreadStaticDef(server_task, h_server_task, osPriorityIdle, 0, 2048, server_taskBuffer, &server_taskControlBlock);
  server_taskHandle = osThreadCreate(osThread(server_task), NULL);

  /* definition and creation of toolsTask */
  osThreadDef(toolsTask, h_tools, osPriorityIdle, 0, 512);
  toolsTaskHandle = osThreadCreate(osThread(toolsTask), NULL);

  /* USER CODE BEGIN RTOS_THREADS */
	osThreadSuspend(server_taskHandle);
	osThreadSuspend(indi_taskHandle);
	osThreadSuspend(toolsTaskHandle);
  /* USER CODE END RTOS_THREADS */

}

void h_main_task(void const * argument)
{
  /* init code for LWIP */
  MX_LWIP_Init();
  /* USER CODE BEGIN h_main_task */
	device_struct *mcs = &mcs_storage;

	char debug_buffer[1000];
	char tcp_buffer[1000];
	char resp[1000];
	long tcp_buffer_ind = 0;

	protection_set_state(&mcs->state, true);
	protection_err_clr(mcs);

	osThreadDef(dev_refreshtask, h_dev_refreshtask, osPriorityNormal, 1, 256);
	dev_refreshtaskHandle = osThreadCreate(osThread(dev_refreshtask), NULL);

	osThreadResume(server_taskHandle);
	osThreadResume(indi_taskHandle);
	osThreadResume(toolsTaskHandle);

	while (true) {

		HAL_UART_Receive_IT(&huart1, &uart1_rx_byte, 1);

		if (xQueueReceive(tcp_rx_data_queue, &tcp_buffer[tcp_buffer_ind], 0) == pdPASS) {

			if (tcp_buffer[tcp_buffer_ind] == '\r'
					|| tcp_buffer[tcp_buffer_ind] == '\n') {

				if (tcp_buffer_ind > 2) {
					tcp_buffer[tcp_buffer_ind + 1] = '\0';
					CommandsHandler(mcs, resp, debug_buffer, tcp_buffer, 0);
					resp[0] = 0;
				}

				tcp_buffer[tcp_buffer_ind] = '\0';
				tcp_buffer_ind = 0;

			} else if (tcp_buffer_ind < TCP_QUEUE_BUF_SIZE - 2) {

				if (tcp_buffer[tcp_buffer_ind] == '\b' && tcp_buffer_ind > 0)
					tcp_buffer_ind--;
				else
					tcp_buffer_ind++;

			} else {
				tcp_buffer_ind = 0;
			}

		} else {
			osDelay(1);
		}
		mcs->current_interface = get_interface_in();
	}
  /* USER CODE END h_main_task */
}

void h_indi_task(void const * argument)
{
  /* USER CODE BEGIN h_indi_task */
	indication_handler(&indication_queue,&mcs_storage);
  /* USER CODE END h_indi_task */
}

void h_server_task(void const * argument)
{
  /* USER CODE BEGIN h_server_task */
	server_handler(&tcp_rx_data_queue,&indication_queue);
  /* USER CODE END h_server_task */
}

void h_tools(void const * argument)
{
  /* USER CODE BEGIN h_tools */
	/* Infinite loop */
	for (;;) {
		handler_alarm(&mcs_storage);
		handler_buttons (&mcs_storage);
		get_emission(&mcs_storage);
		set_emission_leds(mcs_storage.state.emission);
		osDelay(1);
	}
  /* USER CODE END h_tools */
}

/* USER CODE BEGIN Application */

void HAL_UART_RxCpltCallback ( UART_HandleTypeDef *huart ){
	BaseType_t xHigherPriorityTaskWoken = pdFALSE;

	if( huart == &huart1 ){
		if ( xQueueSendFromISR ( tcp_rx_data_queue, ( &uart1_rx_byte ), &xHigherPriorityTaskWoken ) == pdPASS )
			set_interface_in(INTERFACE_USB_UART1) ;
		HAL_UART_Receive_IT ( &huart1 , &uart1_rx_byte , 1 );
	}
}

void h_dev_refreshtask (void const *argument ){
	dev_refreshtask_state = 1;
	while(1){
	  osDelay(10);
	}
	dev_refreshtask_state = 0;
	osThreadTerminate(NULL);
}

/* USER CODE END Application */
